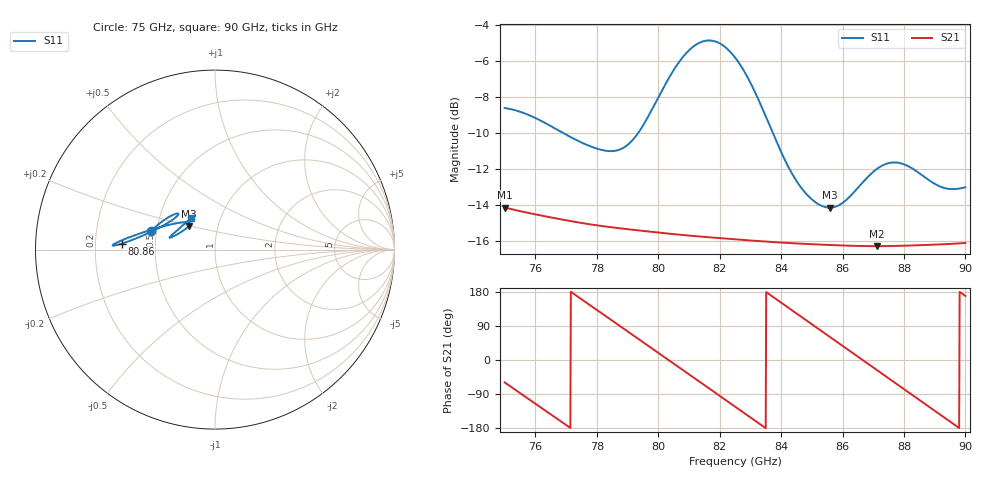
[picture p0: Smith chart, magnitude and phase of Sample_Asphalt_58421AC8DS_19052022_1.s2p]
!SWISSto12 MCK measurement data
!name=Sample_Asphalt_58421AC8DS_19052022_1
!thickness[mm]=23.000
# GHz S RI R 50.0
!freq ReS11 ImS11 ReS21 ImS21 ReS12 ImS12 ReS22 ImS22
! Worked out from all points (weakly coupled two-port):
!   961 points, 75 GHz to 90 GHz, reference 50 ohm
!   highest |S21| = -14.14 dB at 75 GHz (marker M1); lowest = -16.3 dB at 87.11 GHz (marker M2)
!   lowest |S11| = -14.1 dB at 85.58 GHz (marker M3), VSWR 1.49, Z = 36.1 + j9.87 ohm
!   |S11| at or under -10 dB: 76.9 GHz to 79.35 GHz (2.443 GHz wide, 3.13 % of centre); 83.73 GHz to end of sweep
!   S12 and S22 are empty: the file has one direction only
!   S11 on the Smith chart (normalised r, x): 75 GHz: 0.47, +0.11; 80.86 GHz: 0.32, +0.03; 90 GHz: 0.72, +0.27
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75  -0.3566 0.1034  0.1008 -0.1685  0 0  0 0
76.04688  -0.3178 0.1384  -0.0877 -0.1658  0 0  0 0
76.79688  -0.268 0.1748  -0.1713 -0.0624  0 0  0 0
77.5  -0.2221 0.1982  -0.1677 0.0593  0 0  0 0
78.15625  -0.2036 0.1977  -0.0964 0.1454  0 0  0 0
78.73438  -0.2231 0.176  -0.00246 0.172  0 0  0 0
79.3125  -0.2812 0.1381  0.0898 0.1441  0 0  0 0
80  -0.3873 0.0846  0.1581 0.0548  0 0  0 0
80.85938  -0.5197 0.0331  0.143 -0.0813  0 0  0 0
81.6875  -0.5708 0.024  0.0374 -0.1579  0 0  0 0
82.5  -0.5096 0.0558  -0.0872 -0.1345  0 0  0 0
83.10938  -0.407 0.0938  -0.1469 -0.0604  0 0  0 0
83.6875  -0.2963 0.1277  -0.1549 0.0289  0 0  0 0
84.375  -0.1895 0.151  -0.1008 0.1194  0 0  0 0
85  -0.1429 0.1497  -0.012 0.1548  0 0  0 0
85.57812  -0.1459 0.1313  0.074 0.1357  0 0  0 0
86.375  -0.1952 0.094  0.1478 0.0423  0 0  0 0
87.10938  -0.2413 0.069  0.1379 -0.0671  0 0  0 0
87.5  -0.2524 0.0656  0.1021 -0.1146  0 0  0 0
88.60938  -0.219 0.1001  -0.0571 -0.1435  0 0  0 0
89.34375  -0.169 0.1442  -0.1391 -0.0692  0 0  0 0
90  -0.1356 0.1777  -0.1537 0.0298  0 0  0 0
